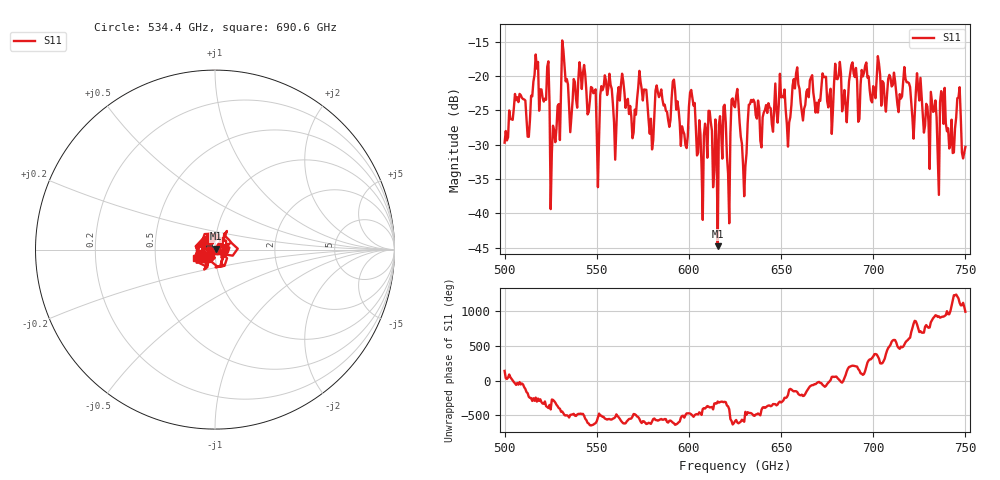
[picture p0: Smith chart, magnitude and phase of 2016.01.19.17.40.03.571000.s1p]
!Created with skrf (http://scikit-rf.org).
# GHz S RI R 50.0
!freq ReS11 ImS11
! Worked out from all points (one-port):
!   401 points, 500 GHz to 750 GHz, reference 50 ohm
!   lowest |S11| = -44.8 dB at 615.6 GHz (marker M1), VSWR 1.01, Z = 50.3 + j0.504 ohm
!   |S11| at or under -10 dB: start of sweep to end of sweep
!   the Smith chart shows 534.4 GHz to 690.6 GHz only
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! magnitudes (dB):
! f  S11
! 500 GHz  -29.7
! 506.9 GHz  -23.1
! 513.1 GHz  -28.9
! 516.9 GHz  -16.9
! 523.1 GHz  -18.7
! 526.2 GHz  -27.2
! 531.2 GHz  -14.8
! 541.9 GHz  -21.9
! 550.6 GHz  -36.2
! 553.8 GHz  -21.5
! 560 GHz  -32.2
! 562.5 GHz  -23.6
! 570 GHz  -28.2
! 574.4 GHz  -21.9
! 579.4 GHz  -26.2
! 583.1 GHz  -22.3
! 593.8 GHz  -23.7
! 615.6 GHz  -44.8
! 621.2 GHz  -34.2
! 625 GHz  -24.5
! 630 GHz  -37.5
! 633.8 GHz  -23.5
! 656.2 GHz  -21.4
! 687.5 GHz  -19.6
! 718.8 GHz  -20.9
! 742.5 GHz  -26.3
! 746.2 GHz  -23.1
! 750 GHz  -30.3
